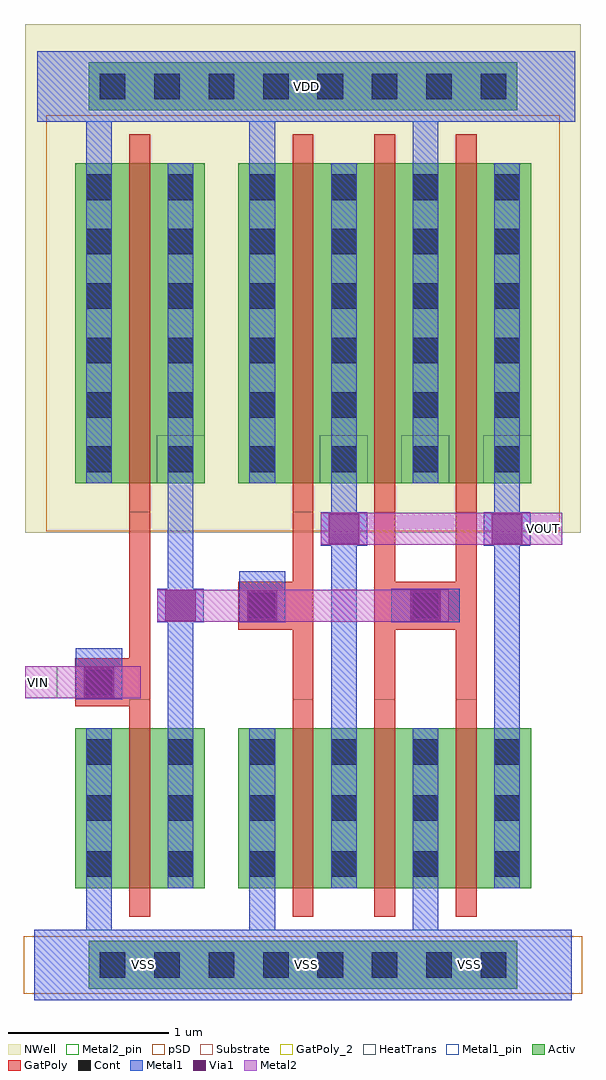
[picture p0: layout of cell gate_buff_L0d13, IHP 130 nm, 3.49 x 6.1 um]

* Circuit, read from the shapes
.subckt gate_buff_L0d13 VDD VIN VOUT VSS
XM1 n1 VIN VSS VSS sg13_lv_nmos w=1u l=0.13u
XM2 VOUT n1 VSS VSS sg13_lv_nmos w=1u l=0.13u m=3
XM3 n1 VIN VDD VDD sg13_lv_pmos w=2u l=0.13u
XM4 VOUT n1 VDD VDD sg13_lv_pmos w=2u l=0.13u m=3
.ends

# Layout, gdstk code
from math import pi, radians
import gdstk
lib = gdstk.Library(unit=1e-6, precision=1e-09)
def R(c, l, rs):  # rectangles x0, y0, x1, y1
    for r in rs: c.add(gdstk.rectangle(r[:2], r[2:], *l))
def A(c, l, x, y, w, h, nx, ny, dx, dy):  # array of equal rectangles
    R(c, l, [(x+i*dx, y+j*dy, x+i*dx+w, y+j*dy+h) for i in range(nx) for j in range(ny)])
Activ = (1, 0)
GatPoly = (5, 0)
GatPoly_2 = (5, 2)
Cont = (6, 0)
Metal1 = (8, 0)
Metal1_pin = (8, 2)
Metal2 = (10, 0)
Metal2_pin = (10, 2)
pSD = (14, 0)
Via1 = (19, 0)
NWell = (31, 0)
Substrate = (40, 0)
HeatTrans = (51, 0)

nmos = lib.new_cell('nmos')
R(nmos, Activ, [(0,0,0.3,0.3), (0,0,0.81,1), (0.51,0,0.81,0.3)])
R(nmos, GatPoly, [(0.34,-0.18,0.47,1.18)])
R(nmos, GatPoly_2, [(0.34,-0.18,0.47,1.18)])
A(nmos, Cont, 0.07, 0.07, 0.16, 0.16, 1, 3, 0, 0.35)
A(nmos, Cont, 0.58, 0.07, 0.16, 0.16, 1, 3, 0, 0.35)
R(nmos, Metal1, [(0.07,0,0.23,1), (0.58,0,0.74,1)])
R(nmos, Metal1_pin, [(0.07,0,0.23,1), (0.58,0,0.74,1)])
R(nmos, HeatTrans, [(0.34,-0.18,0.47,1.18)])
nmos.add(gdstk.Label('nmos', (0.405,0.5), layer=63, texttype=0))
nmos.add(gdstk.Label('nmos', (0.405,0.5), layer=51, texttype=0))

via_stack = lib.new_cell('via_stack')
R(via_stack, Activ, [(-0.66,-0.15,0.66,0.15)])
A(via_stack, Cont, -0.59, -0.08, 0.16, 0.16, 4, 1, 0.34, 0)
R(via_stack, Metal1, [(-0.64,-0.08,0.64,0.08)])

via_stack_6 = lib.new_cell('via_stack$6')
R(via_stack_6, Activ, [(-0.49,-0.15,0.49,0.15)])
A(via_stack_6, Cont, -0.42, -0.08, 0.16, 0.16, 3, 1, 0.34, 0)
R(via_stack_6, Metal1, [(-0.47,-0.08,0.47,0.08)])

pmos = lib.new_cell('pmos')
R(pmos, Activ, [(0,0,0.3,0.3), (0,0,0.81,2), (0.51,0,0.81,0.3)])
R(pmos, GatPoly, [(0.34,-0.18,0.47,2.18), (0.34,-0.18,0.47,2.18)])
A(pmos, Cont, 0.07, 0.07, 0.16, 0.16, 1, 6, 0, 0.34)
A(pmos, Cont, 0.58, 0.07, 0.16, 0.16, 1, 6, 0, 0.34)
R(pmos, Metal1, [(0.07,0,0.23,2), (0.07,0,0.23,2), (0.58,0,0.74,2), (0.58,0,0.74,2)])
R(pmos, pSD, [(-0.18,-0.3,0.99,2.3)])
R(pmos, NWell, [(-0.31,-0.31,1.12,2.31)])
R(pmos, Substrate, [(0.51,0,0.81,0.3)])
R(pmos, HeatTrans, [(0.34,-0.18,0.47,2.18)])
pmos.add(gdstk.Label('pmos', (0.405,1), layer=63, texttype=0))
pmos.add(gdstk.Label('pmos', (0.405,1), layer=51, texttype=0))

via_stack_4 = lib.new_cell('via_stack$4')
R(via_stack_4, Metal1, [(-0.145,-0.105,0.145,0.105)])
R(via_stack_4, Metal2, [(-0.145,-0.1,0.145,0.1)])
R(via_stack_4, Via1, [(-0.095,-0.095,0.095,0.095)])

via_stack_2 = lib.new_cell('via_stack$2')
R(via_stack_2, GatPoly, [(-0.15,-0.15,0.15,0.15)])
R(via_stack_2, Cont, [(-0.08,-0.08,0.08,0.08)])
R(via_stack_2, Metal1, [(-0.145,-0.105,0.145,0.105)])
R(via_stack_2, Metal2, [(-0.145,-0.1,0.145,0.1)])
R(via_stack_2, Via1, [(-0.095,-0.095,0.095,0.095)])

via_stack_5 = lib.new_cell('via_stack$5')
R(via_stack_5, GatPoly, [(-0.15,-0.15,0.15,0.15)])
R(via_stack_5, Cont, [(-0.08,-0.08,0.08,0.08)])
R(via_stack_5, Metal1, [(-0.145,-0.105,0.145,0.105)])
R(via_stack_5, Metal2, [(-0.145,-0.1,0.145,0.1)])
R(via_stack_5, Via1, [(-0.095,-0.095,0.095,0.095)])

gate_buff_l0d13 = lib.new_cell('gate_buff_L0d13')
R(gate_buff_l0d13, GatPoly, [(0.62,1.815,0.66,2.115), (1.64,2.295,1.68,2.595), (2.32,2.295,2.7,2.595)])
R(gate_buff_l0d13, Metal1, [(0.325,1.86,0.615,2.18), (1.345,2.34,1.635,2.66), (2.295,2.34,2.725,2.55)])
R(gate_buff_l0d13, Metal1_pin, [(0.065,-0.02,3.425,0.42), (0.085,5.47,3.445,5.91)])
R(gate_buff_l0d13, Metal2_pin, [(0.01,1.865,0.21,2.065), (3.165,2.825,3.365,3.025)])
A(gate_buff_l0d13, pSD, 0, 0.02, 1.45, 0.36, 3, 1, 1.02, 0)
R(gate_buff_l0d13, NWell, [(0.01,5.52,3.48,6.08)])
gate_buff_l0d13.add(gdstk.FlexPath([(0.47,0.42),(0.47,0.68)], 0.16, ends="flush", simple_path=True, layer=8, datatype=0))  # Metal1
gate_buff_l0d13.add(gdstk.FlexPath([(0.065,0.2),(1.385,0.2)], 0.44, ends="flush", simple_path=True, layer=8, datatype=0))  # Metal1
gate_buff_l0d13.add(gdstk.FlexPath([(1.085,0.2),(2.405,0.2)], 0.44, ends="flush", simple_path=True, layer=8, datatype=0))  # Metal1
gate_buff_l0d13.add(gdstk.FlexPath([(2.105,0.2),(3.425,0.2)], 0.44, ends="flush", simple_path=True, layer=8, datatype=0))  # Metal1
gate_buff_l0d13.add(gdstk.FlexPath([(1.49,0.68),(1.49,0.42)], 0.16, ends="flush", simple_path=True, layer=8, datatype=0))  # Metal1
gate_buff_l0d13.add(gdstk.FlexPath([(2.51,0.68),(2.51,0.42)], 0.16, ends="flush", simple_path=True, layer=8, datatype=0))  # Metal1
gate_buff_l0d13.add(gdstk.FlexPath([(3.02,3.21),(3.02,1.68)], 0.16, ends="flush", simple_path=True, layer=8, datatype=0))  # Metal1
gate_buff_l0d13.add(gdstk.FlexPath([(2,3.21),(2,1.68)], 0.16, ends="flush", simple_path=True, layer=8, datatype=0))  # Metal1
gate_buff_l0d13.add(gdstk.FlexPath([(0.98,3.21),(0.98,1.68)], 0.16, ends="flush", simple_path=True, layer=8, datatype=0))  # Metal1
gate_buff_l0d13.add(gdstk.FlexPath([(2.51,5.21),(2.51,5.47)], 0.16, ends="flush", simple_path=True, layer=8, datatype=0))  # Metal1
gate_buff_l0d13.add(gdstk.FlexPath([(0.47,5.21),(0.47,5.47)], 0.16, ends="flush", simple_path=True, layer=8, datatype=0))  # Metal1
gate_buff_l0d13.add(gdstk.FlexPath([(0.085,5.69),(1.405,5.69)], 0.44, ends="flush", simple_path=True, layer=8, datatype=0))  # Metal1
gate_buff_l0d13.add(gdstk.FlexPath([(1.105,5.69),(2.425,5.69)], 0.44, ends="flush", simple_path=True, layer=8, datatype=0))  # Metal1
gate_buff_l0d13.add(gdstk.FlexPath([(2.125,5.69),(3.445,5.69)], 0.44, ends="flush", simple_path=True, layer=8, datatype=0))  # Metal1
gate_buff_l0d13.add(gdstk.FlexPath([(1.49,5.21),(1.49,5.47)], 0.16, ends="flush", simple_path=True, layer=8, datatype=0))  # Metal1
gate_buff_l0d13.add(gdstk.FlexPath([(2.765,3.03),(2.765,1.86)], 0.13, ends="flush", simple_path=True, layer=5, datatype=0))  # GatPoly
gate_buff_l0d13.add(gdstk.FlexPath([(2.255,3.03),(2.255,1.86)], 0.13, ends="flush", simple_path=True, layer=5, datatype=0))  # GatPoly
gate_buff_l0d13.add(gdstk.FlexPath([(1.745,3.03),(1.745,1.86)], 0.13, ends="flush", simple_path=True, layer=5, datatype=0))  # GatPoly
gate_buff_l0d13.add(gdstk.FlexPath([(0.725,3.03),(0.725,1.86)], 0.13, ends="flush", simple_path=True, layer=5, datatype=0))  # GatPoly
gate_buff_l0d13.add(gdstk.FlexPath([(0.01,1.965),(0.73,1.965)], 0.2, ends="flush", simple_path=True, layer=10, datatype=0))  # Metal2
gate_buff_l0d13.add(gdstk.FlexPath([(2.145,2.925),(3.365,2.925)], 0.2, ends="flush", simple_path=True, layer=10, datatype=0))  # Metal2
gate_buff_l0d13.add(gdstk.FlexPath([(1.125,2.445),(2.655,2.445)], 0.2, ends="flush", simple_path=True, layer=10, datatype=0))  # Metal2
gate_buff_l0d13.add(gdstk.Reference(nmos, (0.32,0.68)))
gate_buff_l0d13.add(gdstk.Reference(nmos, (2.36,0.68)))
gate_buff_l0d13.add(gdstk.Reference(nmos, (1.85,0.68)))
gate_buff_l0d13.add(gdstk.Reference(nmos, (1.34,0.68)))
gate_buff_l0d13.add(gdstk.Reference(via_stack, (1.745,0.2)))
gate_buff_l0d13.add(gdstk.Reference(via_stack_6, (2.595,0.2)))
gate_buff_l0d13.add(gdstk.Reference(via_stack_6, (0.895,0.2)))
gate_buff_l0d13.add(gdstk.Reference(pmos, (1.34,3.21)))
gate_buff_l0d13.add(gdstk.Reference(via_stack_4, (0.98,2.445), rotation=pi))
gate_buff_l0d13.add(gdstk.Reference(pmos, (0.32,3.21)))
gate_buff_l0d13.add(gdstk.Reference(via_stack_6, (0.895,5.69)))
gate_buff_l0d13.add(gdstk.Reference(pmos, (1.85,3.21)))
gate_buff_l0d13.add(gdstk.Reference(pmos, (2.36,3.21)))
gate_buff_l0d13.add(gdstk.Reference(via_stack, (1.745,5.69)))
gate_buff_l0d13.add(gdstk.Reference(via_stack_6, (2.595,5.69)))
gate_buff_l0d13.add(gdstk.Reference(via_stack_4, (3.02,2.925)))
gate_buff_l0d13.add(gdstk.Reference(via_stack_2, (2.51,2.445)))
gate_buff_l0d13.add(gdstk.Reference(via_stack_2, (1.49,2.445)))
gate_buff_l0d13.add(gdstk.Reference(via_stack_4, (2,2.925)))
gate_buff_l0d13.add(gdstk.Reference(via_stack_5, (0.47,1.965)))
gate_buff_l0d13.add(gdstk.Label('VSS', (1.765,0.2), layer=8, texttype=25))
gate_buff_l0d13.add(gdstk.Label('VSS', (2.785,0.2), layer=8, texttype=25))
gate_buff_l0d13.add(gdstk.Label('VSS', (0.745,0.2), layer=8, texttype=25))
gate_buff_l0d13.add(gdstk.Label('VDD', (1.765,5.69), layer=8, texttype=25))
gate_buff_l0d13.add(gdstk.Label('VIN', (0.09,1.965), layer=10, texttype=25))
gate_buff_l0d13.add(gdstk.Label('VOUT', (3.245,2.925), layer=10, texttype=25))

lib.write_gds('gate_buff_L0d13.gds')
